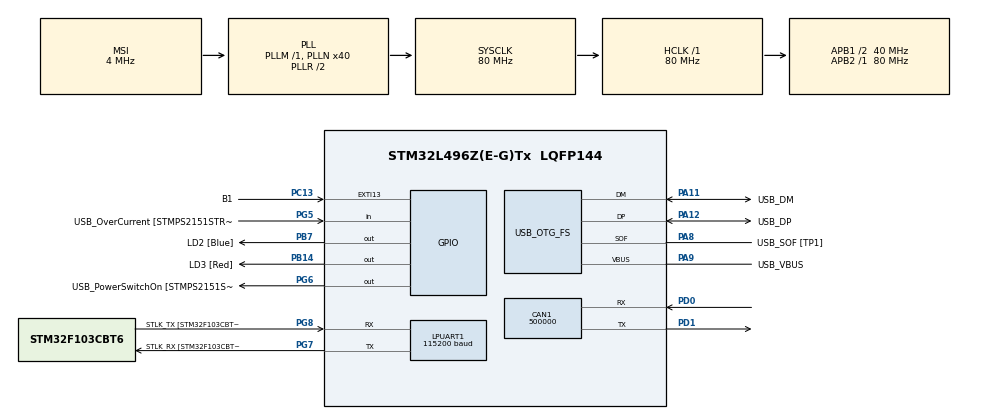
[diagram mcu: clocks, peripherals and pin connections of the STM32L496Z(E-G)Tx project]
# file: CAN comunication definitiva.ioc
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CAN1.BS1=CAN_BS1_3TQ
CAN1.CalculateBaudRate=500000
CAN1.CalculateTimeBit=2000
CAN1.CalculateTimeQuantum=400.0
LPUART1.BaudRate=115200
LPUART1.WordLength=UART_WORDLENGTH_8B
Mcu.Family=STM32L4
Mcu.Name=STM32L496Z(E-G)Tx
Mcu.Package=LQFP144
NVIC.CAN1_RX0_IRQn=true\:0\:0\:false\:false\:true\:true\:true\:true
NVIC.CAN1_TX_IRQn=true\:0\:0\:false\:false\:true\:true\:true\:true
NVIC.LPUART1_IRQn=true\:0\:0\:false\:false\:true\:true\:true\:true
NVIC.PriorityGroup=NVIC_PRIORITYGROUP_4
PA10.GPIO_Label=USB_ID
PA10.Signal=USB_OTG_FS_ID
PA11.GPIO_Label=USB_DM
PA11.Mode=Device_Only
PA11.Signal=USB_OTG_FS_DM
PA12.GPIO_Label=USB_DP
PA12.Mode=Device_Only
PA12.Signal=USB_OTG_FS_DP
PA13\ (JTMS/SWDIO).GPIO_Label=TMS
PA13\ (JTMS/SWDIO).Mode=Trace_Asynchronous_SW
PA13\ (JTMS/SWDIO).Signal=SYS_JTMS-SWDIO
PA14\ (JTCK/SWCLK).GPIO_Label=TCK
PA14\ (JTCK/SWCLK).Mode=Trace_Asynchronous_SW
PA14\ (JTCK/SWCLK).Signal=SYS_JTCK-SWCLK
PA8.GPIO_Label=USB_SOF [TP1]
PA8.Mode=Activate_SOF_FS
PA8.Signal=USB_OTG_FS_SOF
PA9.GPIO_Label=USB_VBUS
PA9.Mode=Activate_VBUS
PA9.Signal=USB_OTG_FS_VBUS
PB14.GPIO_Label=LD3 [Red]
PB14.Signal=GPIO_Output
PB3\ (JTDO/TRACESWO).GPIO_Label=SWO
PB3\ (JTDO/TRACESWO).Mode=Trace_Asynchronous_SW
PB3\ (JTDO/TRACESWO).Signal=SYS_JTDO-SWO
PB7.GPIO_Label=LD2 [Blue]
PB7.Signal=GPIO_Output
PC13.GPIO_Label=B1
PC13.Signal=GPXTI13
PC14-OSC32_IN\ (PC14).Mode=LSE-External-Oscillator
PC14-OSC32_IN\ (PC14).Signal=RCC_OSC32_IN
PC15-OSC32_OUT\ (PC15).Mode=LSE-External-Oscillator
PC15-OSC32_OUT\ (PC15).Signal=RCC_OSC32_OUT
PD0.Mode=CAN_Activate
PD0.Signal=CAN1_RX
PD1.Mode=CAN_Activate
PD1.Signal=CAN1_TX
PG5.GPIO_Label=USB_OverCurrent [STMPS2151STR_FAULT]
PG5.Signal=GPIO_Input
PG6.GPIO_Label=USB_PowerSwitchOn [STMPS2151STR_EN]
PG6.Signal=GPIO_Output
PG7.GPIO_Label=STLK_RX [STM32F103CBT6_PA3]
PG7.Mode=Asynchronous
PG7.Signal=LPUART1_TX
PG8.GPIO_Label=STLK_TX [STM32F103CBT6_PA2]
PG8.Mode=Asynchronous
PG8.Signal=LPUART1_RX
PH0-OSC_IN\ (PH0).Mode=HSE-External-Oscillator
PH0-OSC_IN\ (PH0).Signal=RCC_OSC_IN
PH1-OSC_OUT\ (PH1).Mode=HSE-External-Oscillator
PH1-OSC_OUT\ (PH1).Signal=RCC_OSC_OUT
ProjectManager.HeapSize=0x200
ProjectManager.StackSize=0x400
ProjectManager.TargetToolchain=STM32CubeIDE
RCC.48MHZClocksFreq_Value=24000000
RCC.ADCFreq_Value=48000000
RCC.AHBFreq_Value=80000000
RCC.APB1CLKDivider=RCC_HCLK_DIV2
RCC.APB1Freq_Value=40000000
RCC.APB1TimFreq_Value=80000000
RCC.APB2Freq_Value=80000000
RCC.APB2TimFreq_Value=80000000
RCC.CortexFreq_Value=80000000
RCC.HCLKFreq_Value=80000000
RCC.HSE_VALUE=8000000
RCC.HSI48_VALUE=48000000
RCC.HSI_VALUE=16000000
RCC.MSI_VALUE=4000000
RCC.PLLMUL=RCC_PLL_MUL9
RCC.PLLN=40
RCC.PLLSAI1N=24
RCC.PRESCALERUSB=RCC_USBCLKSOURCE_PLL_DIV1_5
RCC.SYSCLKFreq_VALUE=80000000
RCC.SYSCLKSource=RCC_SYSCLKSOURCE_PLLCLK
RCC.SYSCLKSourceVirtual=RCC_SYSCLKSOURCE_PLLCLK
RCC.USBFreq_Value=48000000
RCC.VCOOutputFreq_Value=160000000
USB_OTG_FS.VirtualMode=Device_Only
board=NUCLEO-L496ZG

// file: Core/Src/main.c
/* USER CODE BEGIN Header */
/**
  ******************************************************************************
  * @file           : main.c
  * @brief          : Main program body
  ******************************************************************************
  * @attention
  *
  * Copyright (c) 2023 STMicroelectronics.
  * All rights reserved.
  *
  * This software is licensed under terms that can be found in the LICENSE file
  * in the root directory of this software component.
  * If no LICENSE file comes with this software, it is provided AS-IS.
  *
  ******************************************************************************
  */
/* USER CODE END Header */
#include "main.h"

/* USER CODE BEGIN Includes */
#include "string.h"
#include "stdio.h"
/* USER CODE END Includes */

CAN_HandleTypeDef hcan1;

UART_HandleTypeDef hlpuart1;

PCD_HandleTypeDef hpcd_USB_OTG_FS;

/* USER CODE BEGIN PV */
//CAN variables
CAN_RxHeaderTypeDef 	RxHeader; 					//CAN Bus Transmit Header
CAN_TxHeaderTypeDef 	TxHeader; 					//CAN Bus Receive Header
uint8_t 				TxData[8];					//CAN Bus Transmit Buffer
uint8_t 				RxData[8];  				//CAN Bus Receive Buffer
CAN_FilterTypeDef 		canfil; 					//CAN Bus Filter
uint32_t 				TxMailbox; 					//CAN Bus Mail box variable.

/* USER CODE END PV */

void SystemClock_Config(void);
static void MX_GPIO_Init(void);
static void MX_LPUART1_UART_Init(void);
static void MX_USB_OTG_FS_PCD_Init(void);
static void MX_CAN1_Init(void);

int main(void)
{

  /* MCU Configuration--------------------------------------------------------*/

  /* Reset of all peripherals, Initializes the Flash interface and the Systick. */
  HAL_Init();

  /* Configure the system clock */
  SystemClock_Config();

  /* Initialize all configured peripherals */
  MX_GPIO_Init();
  MX_LPUART1_UART_Init();
  MX_USB_OTG_FS_PCD_Init();
  MX_CAN1_Init();
  /* USER CODE BEGIN 2 */
  //Receiving filter configuration
    canfil.FilterBank = 0;									//This refers to which filter is being configured. On this case is the filter number 0
    canfil.FilterMode = CAN_FILTERMODE_IDMASK;				//FilterMode: How are we filtering the incoming messages. Only the messages that coincide with the mask and the filter are accepted
    canfil.FilterFIFOAssignment = CAN_RX_FIFO0;				//Defines at which FIFO is this filter being configured to. In this case is the FIFO 0.
    canfil.FilterIdHigh = 0x0000;							//MSB: Most Significant Bit. When it's in 0, accepts all the messages
    canfil.FilterIdLow = 0x0000;							//LSB: Least Significant Bit. When it's in 0, accepts all the messages
    canfil.FilterMaskIdHigh = 0x0000;						//Most Significant Bit of the mask. When it's in 0, accepts all the messages
    canfil.FilterMaskIdLow = 0x0000;						//Least Significant Bit of the mask. When it's in 0, accepts all the messages
    canfil.FilterScale = CAN_FILTERSCALE_32BIT;				//Defines the Filter Scale. It will use the 32 bits of the mask and the identifier
    canfil.FilterActivation = ENABLE;						//This activates the filter as it is enable
    canfil.SlaveStartFilterBank = 14;						//Indicates the first filter slave number. In this case it is the principal filter.

    //CAN controller configuration
      if(HAL_CAN_ConfigFilter(&hcan1,&canfil) != HAL_OK) 	//Configures the CAN controller filter
      {
      	Error_Handler();									//If the action goes wrong, call the Error_Handler function
      }

      if (HAL_CAN_Start(&hcan1) != HAL_OK)					//Initiates the CAN controller
      {
      	Error_Handler();									//If the action goes wrong, call the Error_Handler function
      }

      if(HAL_CAN_ActivateNotification(&hcan1, CAN_IT_RX_FIFO0_MSG_PENDING | CAN_IT_TX_MAILBOX_EMPTY) != HAL_OK) //It activates the FIFO pending messages and empty mailboxes interruptions
          {
          	Error_Handler();								//If the action goes wrong, call the Error_Handler function
          }

    //Transmission configuration
      TxHeader.DLC = 8; 									//Number of bites to be transmitted max- 8. DLC: Data Length Code
      TxHeader.IDE = CAN_ID_STD;							//IDE: Identifier Extension. ID_STD: Standard Identifier. Dominant(0) = 11 bit ID, Recessive(1) = 29 bit ID
      TxHeader.RTR = CAN_RTR_DATA;							//RTR: Remote Transmission Request, Dominant(0) = Data frame (CAN_RTR_DATA), Recessive (1) = Remote Frame (CAN_RTR_REMOTE). Type of trace
      TxHeader.StdId = 0x321;								//Standard identifier ID
      TxHeader.TransmitGlobalTime = DISABLE;				//A temporal mark in the CAN message is not added
      TxData[0] = 1;										//Sent data. The TxData is the buffer where the data is saved
      TxData[1] = 2;										//Sent data. The TxData is the buffer where the data is saved
      TxData[2] = 3;										//Sent data. The TxData is the buffer where the data is saved
      TxData[3] = 4;										//Sent data. The TxData is the buffer where the data is saved
      TxData[4] = 5;										//Sent data. The TxData is the buffer where the data is saved
      TxData[5] = 6;										//Sent data. The TxData is the buffer where the data is saved
      TxData[6] = 7;										//Sent data. The TxData is the buffer where the data is saved
      TxData[7] = 8;										//Sent data. The TxData is the buffer where the data is saved

      uint8_t TransmissionCheck[] = "Tot ok";
      HAL_UART_Transmit(&hlpuart1, TransmissionCheck, strlen((char*)TransmissionCheck), HAL_MAX_DELAY);

  /* USER CODE END 2 */

  /* Infinite loop */
  while (1)
  {

    /* USER CODE BEGIN 3 */
	  if(HAL_GPIO_ReadPin(GPIOC, GPIO_PIN_13)){
		  		HAL_CAN_AddTxMessage(&hcan1, &TxHeader, TxData, &TxMailbox);	//Adds a message to the sending queue of the CAN controller
		  		  	  	  	  	  	  	  	  	  	  	  	  	  	  	  	  	//&hadc1: The function uses the ADC 1
		  		  	  															//&TxHeader: CAN Bus Transmit Header
		  		  	  															//TxData: The CAN Bus Receive Buffer
		  		  	  	  	  	  	  	  	  	  	  	  	  	  	  	  	  	//TxMailbox: Where all the data (message, ID, config...) is saved to be sent
		  		HAL_GPIO_TogglePin(GPIOB, GPIO_PIN_14);								//It changes the LED state
		  		HAL_Delay(50);
		  		HAL_GPIO_TogglePin(GPIOB, GPIO_PIN_14);								//It changes the LED state
		  	  }
  }
  /* USER CODE END 3 */
}

void SystemClock_Config(void)
{
  RCC_OscInitTypeDef RCC_OscInitStruct = {0};
  RCC_ClkInitTypeDef RCC_ClkInitStruct = {0};

  /** Configure the main internal regulator output voltage
  */
  if (HAL_PWREx_ControlVoltageScaling(PWR_REGULATOR_VOLTAGE_SCALE1) != HAL_OK)
  {
    Error_Handler();
  }

  /** Configure LSE Drive Capability
  */
  HAL_PWR_EnableBkUpAccess();
  __HAL_RCC_LSEDRIVE_CONFIG(RCC_LSEDRIVE_LOW);

  /** Initializes the RCC Oscillators according to the specified parameters
  * in the RCC_OscInitTypeDef structure.
  */
  RCC_OscInitStruct.OscillatorType = RCC_OSCILLATORTYPE_LSE|RCC_OSCILLATORTYPE_MSI;
  RCC_OscInitStruct.LSEState = RCC_LSE_ON;
  RCC_OscInitStruct.MSIState = RCC_MSI_ON;
  RCC_OscInitStruct.MSICalibrationValue = 0;
  RCC_OscInitStruct.MSIClockRange = RCC_MSIRANGE_6;
  RCC_OscInitStruct.PLL.PLLState = RCC_PLL_ON;
  RCC_OscInitStruct.PLL.PLLSource = RCC_PLLSOURCE_MSI;
  RCC_OscInitStruct.PLL.PLLM = 1;
  RCC_OscInitStruct.PLL.PLLN = 40;
  RCC_OscInitStruct.PLL.PLLP = RCC_PLLP_DIV2;
  RCC_OscInitStruct.PLL.PLLQ = RCC_PLLQ_DIV2;
  RCC_OscInitStruct.PLL.PLLR = RCC_PLLR_DIV2;
  if (HAL_RCC_OscConfig(&RCC_OscInitStruct) != HAL_OK)
  {
    Error_Handler();
  }

  /** Initializes the CPU, AHB and APB buses clocks
  */
  RCC_ClkInitStruct.ClockType = RCC_CLOCKTYPE_HCLK|RCC_CLOCKTYPE_SYSCLK
                              |RCC_CLOCKTYPE_PCLK1|RCC_CLOCKTYPE_PCLK2;
  RCC_ClkInitStruct.SYSCLKSource = RCC_SYSCLKSOURCE_PLLCLK;
  RCC_ClkInitStruct.AHBCLKDivider = RCC_SYSCLK_DIV1;
  RCC_ClkInitStruct.APB1CLKDivider = RCC_HCLK_DIV2;
  RCC_ClkInitStruct.APB2CLKDivider = RCC_HCLK_DIV1;

  if (HAL_RCC_ClockConfig(&RCC_ClkInitStruct, FLASH_LATENCY_4) != HAL_OK)
  {
    Error_Handler();
  }

  /** Enable MSI Auto calibration
  */
  HAL_RCCEx_EnableMSIPLLMode();
}

static void MX_CAN1_Init(void)
{

  hcan1.Instance = CAN1;
  hcan1.Init.Prescaler = 16;
  hcan1.Init.Mode = CAN_MODE_NORMAL;
  hcan1.Init.SyncJumpWidth = CAN_SJW_1TQ;
  hcan1.Init.TimeSeg1 = CAN_BS1_3TQ;
  hcan1.Init.TimeSeg2 = CAN_BS2_1TQ;
  hcan1.Init.TimeTriggeredMode = DISABLE;
  hcan1.Init.AutoBusOff = DISABLE;
  hcan1.Init.AutoWakeUp = DISABLE;
  hcan1.Init.AutoRetransmission = DISABLE;
  hcan1.Init.ReceiveFifoLocked = DISABLE;
  hcan1.Init.TransmitFifoPriority = DISABLE;
  if (HAL_CAN_Init(&hcan1) != HAL_OK)
  {
    Error_Handler();
  }

}

static void MX_LPUART1_UART_Init(void)
{

  hlpuart1.Instance = LPUART1;
  hlpuart1.Init.BaudRate = 115200;
  hlpuart1.Init.WordLength = UART_WORDLENGTH_8B;
  hlpuart1.Init.StopBits = UART_STOPBITS_1;
  hlpuart1.Init.Parity = UART_PARITY_NONE;
  hlpuart1.Init.Mode = UART_MODE_TX_RX;
  hlpuart1.Init.HwFlowCtl = UART_HWCONTROL_NONE;
  hlpuart1.Init.OneBitSampling = UART_ONE_BIT_SAMPLE_DISABLE;
  hlpuart1.AdvancedInit.AdvFeatureInit = UART_ADVFEATURE_NO_INIT;
  if (HAL_UART_Init(&hlpuart1) != HAL_OK)
  {
    Error_Handler();
  }

}

static void MX_USB_OTG_FS_PCD_Init(void)
{

  hpcd_USB_OTG_FS.Instance = USB_OTG_FS;
  hpcd_USB_OTG_FS.Init.dev_endpoints = 6;
  hpcd_USB_OTG_FS.Init.speed = PCD_SPEED_FULL;
  hpcd_USB_OTG_FS.Init.phy_itface = PCD_PHY_EMBEDDED;
  hpcd_USB_OTG_FS.Init.Sof_enable = ENABLE;
  hpcd_USB_OTG_FS.Init.low_power_enable = DISABLE;
  hpcd_USB_OTG_FS.Init.lpm_enable = DISABLE;
  hpcd_USB_OTG_FS.Init.battery_charging_enable = ENABLE;
  hpcd_USB_OTG_FS.Init.use_dedicated_ep1 = DISABLE;
  hpcd_USB_OTG_FS.Init.vbus_sensing_enable = ENABLE;
  if (HAL_PCD_Init(&hpcd_USB_OTG_FS) != HAL_OK)
  {
    Error_Handler();
  }

}

static void MX_GPIO_Init(void)
{
  GPIO_InitTypeDef GPIO_InitStruct = {0};

  /* GPIO Ports Clock Enable */
  __HAL_RCC_GPIOC_CLK_ENABLE();
  __HAL_RCC_GPIOH_CLK_ENABLE();
  __HAL_RCC_GPIOB_CLK_ENABLE();
  __HAL_RCC_GPIOG_CLK_ENABLE();
  HAL_PWREx_EnableVddIO2();
  __HAL_RCC_GPIOA_CLK_ENABLE();
  __HAL_RCC_GPIOD_CLK_ENABLE();

  /*Configure GPIO pin Output Level */
  HAL_GPIO_WritePin(GPIOB, LD3_Pin|LD2_Pin, GPIO_PIN_RESET);

  /*Configure GPIO pin Output Level */
  HAL_GPIO_WritePin(USB_PowerSwitchOn_GPIO_Port, USB_PowerSwitchOn_Pin, GPIO_PIN_RESET);

  /*Configure GPIO pin : B1_Pin */
  GPIO_InitStruct.Pin = B1_Pin;
  GPIO_InitStruct.Mode = GPIO_MODE_IT_RISING;
  GPIO_InitStruct.Pull = GPIO_NOPULL;
  HAL_GPIO_Init(B1_GPIO_Port, &GPIO_InitStruct);

  /*Configure GPIO pins : LD3_Pin LD2_Pin */
  GPIO_InitStruct.Pin = LD3_Pin|LD2_Pin;
  GPIO_InitStruct.Mode = GPIO_MODE_OUTPUT_PP;
  GPIO_InitStruct.Pull = GPIO_NOPULL;
  GPIO_InitStruct.Speed = GPIO_SPEED_FREQ_LOW;
  HAL_GPIO_Init(GPIOB, &GPIO_InitStruct);

  /*Configure GPIO pin : USB_OverCurrent_Pin */
  GPIO_InitStruct.Pin = USB_OverCurrent_Pin;
  GPIO_InitStruct.Mode = GPIO_MODE_INPUT;
  GPIO_InitStruct.Pull = GPIO_NOPULL;
  HAL_GPIO_Init(USB_OverCurrent_GPIO_Port, &GPIO_InitStruct);

  /*Configure GPIO pin : USB_PowerSwitchOn_Pin */
  GPIO_InitStruct.Pin = USB_PowerSwitchOn_Pin;
  GPIO_InitStruct.Mode = GPIO_MODE_OUTPUT_PP;
  GPIO_InitStruct.Pull = GPIO_NOPULL;
  GPIO_InitStruct.Speed = GPIO_SPEED_FREQ_LOW;
  HAL_GPIO_Init(USB_PowerSwitchOn_GPIO_Port, &GPIO_InitStruct);

}

/* USER CODE BEGIN 4 */
void HAL_CAN_TxMailbox0CompleteCallback(CAN_HandleTypeDef *hcan)		//Completed CAN transmission function
{
	HAL_GPIO_TogglePin(GPIOB, GPIO_PIN_7);								//It changes the LED state
	HAL_Delay(50);
	HAL_GPIO_TogglePin(GPIOB, GPIO_PIN_7);								//It changes the LED state
}

void HAL_CAN_RxFifo0MsgPendingCallback(CAN_HandleTypeDef *hcan)			//Received CAN function
{
	HAL_CAN_GetRxMessage(&hcan1, CAN_RX_FIFO0, &RxHeader, RxData);		//Takes the data from the CAN channel
																		//&hadc1: The function uses the ADC 1
																		//CAN_RX_FIFO0: Where the received data is located, a FIFO, specifically the FIFO 0
																		//&RxHeader: CAN Bus Transmit Header
																		//RxData: The CAN Bus Receive Buffer
	HAL_GPIO_TogglePin(GPIOB, GPIO_PIN_14);								//It changes the LED state
	HAL_Delay(50);
	HAL_GPIO_TogglePin(GPIOB, GPIO_PIN_14);								//It changes the LED state
	HAL_UART_Transmit(&hlpuart1, RxData, strlen((char*)RxData), HAL_MAX_DELAY);

}
/* USER CODE END 4 */

void Error_Handler(void)
{
  __disable_irq();
  while (1)
  {
  }
}
